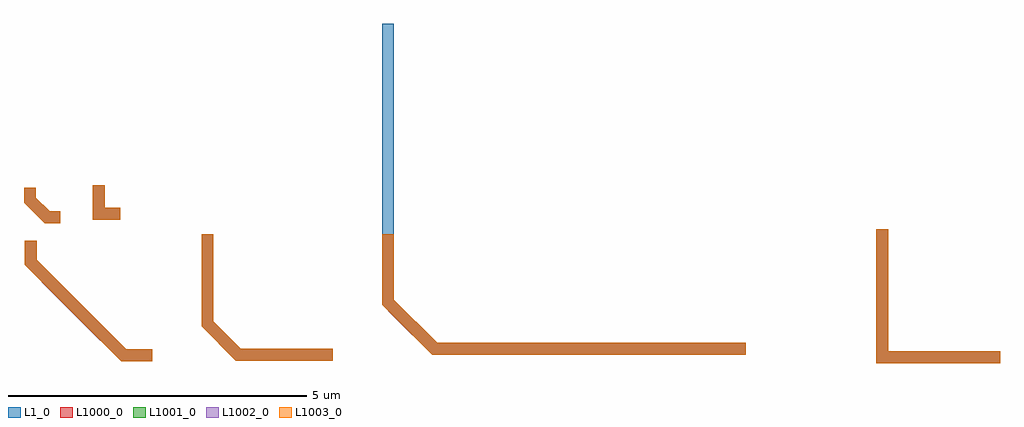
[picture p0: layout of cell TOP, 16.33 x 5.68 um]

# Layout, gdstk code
import gdstk
lib = gdstk.Library(unit=1e-6, precision=1e-09)
def R(c, l, rs):  # rectangles x0, y0, x1, y1
    for r in rs: c.add(gdstk.rectangle(r[:2], r[2:], *l))
def P(c, l, *ps):  # polygons
    for p in ps: c.add(gdstk.Polygon(p, *l))
L1_0 = (1, 0)
L1000_0 = (1000, 0)
L1001_0 = (1001, 0)
L1002_0 = (1002, 0)
L1003_0 = (1003, 0)

top = lib.new_cell('TOP')
R(top, L1000_0, [(13.8,-0.14,15.87,0.06), (6.452,0,11.62,0.2), (13.8,0.06,14,2.1), (2.51,0.562,2.71,2.02)])
P(top, L1000_0, [(6.368,0),(5.53,0.838),(5.53,2.02),(5.73,2.02),(5.73,0.922),(6.452,0.2),(6.452,0)],
  [(1.168,-0.11),(-0.45,1.508),(-0.45,1.91),(-0.25,1.91),(-0.25,1.592),(1.252,0.09),(1.69,0.09),(1.69,-0.11)],
  [(3.083,-0.095),(2.51,0.478),(2.51,0.562),(2.71,0.562),(3.167,0.105),(4.71,0.105),(4.71,-0.095)],
  [(-0.112,2.2),(-0.46,2.548),(-0.46,2.8),(-0.26,2.8),(-0.26,2.632),(-0.028,2.4),(0.15,2.4),(0.15,2.2)],
  [(0.69,2.26),(0.69,2.84),(0.89,2.84),(0.89,2.46),(1.15,2.46),(1.15,2.26)])
P(top, L1001_0, [(13.8,-0.14),(13.8,2.1),(14,2.1),(14,0.06),(15.87,0.06),(15.87,-0.14)],
  [(6.368,0),(5.53,0.838),(5.53,2.02),(5.73,2.02),(5.73,0.922),(6.452,0.2),(11.62,0.2),(11.62,0)],
  [(1.168,-0.11),(-0.45,1.508),(-0.45,1.91),(-0.25,1.91),(-0.25,1.592),(1.252,0.09),(1.69,0.09),(1.69,-0.11)],
  [(3.083,-0.095),(2.51,0.478),(2.51,2.02),(2.71,2.02),(2.71,0.562),(3.167,0.105),(4.71,0.105),(4.71,-0.095)],
  [(-0.112,2.2),(-0.46,2.548),(-0.46,2.8),(-0.26,2.8),(-0.26,2.632),(-0.028,2.4),(0.15,2.4),(0.15,2.2)],
  [(0.69,2.26),(0.69,2.84),(0.89,2.84),(0.89,2.46),(1.15,2.46),(1.15,2.26)])
R(top, L1002_0, [(13.8,-0.14,15.87,0.06), (3.167,-0.095,4.71,0.105), (6.452,0,11.62,0.2), (13.8,0.06,14,2.1), (2.51,0.562,2.71,2.02)])
P(top, L1002_0, [(6.368,0),(5.73,0.638),(6.014,0.638),(6.452,0.2),(6.452,0)],
  [(5.73,0.638),(5.73,0.922),(6.014,0.638)],
  [(5.73,0.638),(5.53,0.838),(5.53,2.02),(5.73,2.02)],
  [(1.168,-0.11),(0.968,0.09),(1.69,0.09),(1.69,-0.11)],
  [(0.968,0.09),(0.968,0.374),(1.252,0.09)],
  [(0.968,0.09),(0.684,0.374),(0.968,0.374)],
  [(0.684,0.374),(0.684,0.658),(0.968,0.374)],
  [(0.684,0.374),(0.4,0.658),(0.684,0.658)],
  [(0.4,0.658),(0.4,0.942),(0.684,0.658)],
  [(0.4,0.658),(0.116,0.942),(0.4,0.942)],
  [(0.116,0.942),(-0.45,1.508),(-0.166,1.508),(0.4,0.942)],
  [(-0.45,1.508),(-0.45,1.91),(-0.25,1.91),(-0.25,1.592),(-0.166,1.508)],
  [(3.083,-0.095),(2.51,0.478),(2.51,0.562),(2.71,0.562),(3.167,0.105),(3.167,-0.095)],
  [(-0.112,2.2),(-0.46,2.548),(-0.46,2.8),(-0.26,2.8),(-0.26,2.632),(-0.028,2.4),(0.15,2.4),(0.15,2.2)],
  [(0.69,2.26),(0.69,2.84),(0.89,2.84),(0.89,2.46),(1.15,2.46),(1.15,2.26)])
R(top, L1003_0, [(13.8,-0.14,15.87,0.06), (6.452,0,11.62,0.2), (13.8,0.06,14,2.1), (2.51,0.562,2.71,2.02)])
P(top, L1003_0, [(6.368,0),(5.53,0.838),(5.53,2.02),(5.73,2.02),(5.73,0.922),(6.452,0.2),(6.452,0)],
  [(1.168,-0.11),(-0.45,1.508),(-0.45,1.91),(-0.25,1.91),(-0.25,1.592),(1.252,0.09),(1.69,0.09),(1.69,-0.11)],
  [(3.083,-0.095),(2.51,0.478),(2.51,0.562),(2.71,0.562),(3.167,0.105),(4.71,0.105),(4.71,-0.095)],
  [(-0.112,2.2),(-0.46,2.548),(-0.46,2.8),(-0.26,2.8),(-0.26,2.632),(-0.028,2.4),(0.15,2.4),(0.15,2.2)],
  [(0.69,2.26),(0.69,2.84),(0.89,2.84),(0.89,2.46),(1.15,2.46),(1.15,2.26)])
top.add(gdstk.FlexPath([(13.9,2.1),(13.9,-0.04),(15.87,-0.04)], 0.2, ends="flush", simple_path=True, layer=1, datatype=0))  # L1_0
top.add(gdstk.FlexPath([(5.63,5.54),(5.63,0.88),(6.41,0.1),(11.62,0.1)], 0.2, ends="flush", simple_path=True, layer=1, datatype=0))  # L1_0
top.add(gdstk.FlexPath([(-0.35,1.91),(-0.35,1.55),(1.21,-0.01),(1.69,-0.01)], 0.2, ends="flush", simple_path=True, layer=1, datatype=0))  # L1_0
top.add(gdstk.FlexPath([(2.61,2.02),(2.61,0.52),(3.125,0.005),(4.71,0.005)], 0.2, ends="flush", simple_path=True, layer=1, datatype=0))  # L1_0
top.add(gdstk.FlexPath([(-0.36,2.8),(-0.36,2.59),(-0.07,2.3),(0.15,2.3)], 0.2, ends="flush", simple_path=True, layer=1, datatype=0))  # L1_0
top.add(gdstk.FlexPath([(0.79,2.84),(0.79,2.36),(1.15,2.36)], 0.2, ends="flush", simple_path=True, layer=1, datatype=0))  # L1_0

lib.write_gds('TOP.gds')
